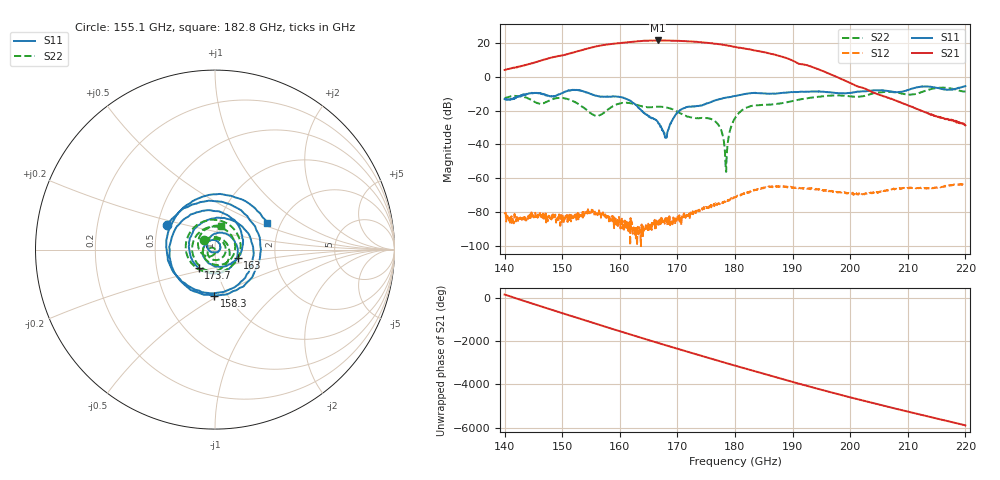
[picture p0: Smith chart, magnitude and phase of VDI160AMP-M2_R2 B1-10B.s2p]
!Keysight Technologies,N5242B,MY60213711,A.18.40.03
!Date: Thursday, March 26, 2026 01:20:33
!Correction: S11(C  2-Port  )
!S21(C  2-Port  )
!S12(C  2-Port  )
!S22(C  2-Port  )
!S2P File: Measurements: S11, S21, S12, S22:
# Hz S  RI  R 50
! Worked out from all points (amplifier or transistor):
!   1201 points, 140 GHz to 220 GHz, reference 50 ohm
!   highest |S21| = 21.3 dB at 166.6 GHz (marker M1)
!   |S21| within 3 dB of that: 156.7 GHz to 178.8 GHz (22.09 GHz wide, 13.2 % of centre)
!   unconditionally stable (mu >= 1): start of sweep to end of sweep
!   at 153.3 GHz: K = 799.97, MAG = 16.2 dB, |S12| = -81.0 dB
!   at 180 GHz: K = 220.78, MAG = 17.8 dB, |S12| = -71.0 dB
!   at 220 GHz: K = 13162.02, MAG = -26.7 dB, |S12| = -63.7 dB
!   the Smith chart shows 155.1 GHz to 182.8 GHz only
!   S11 on the Smith chart (normalised r, x): 155.1 GHz: 0.56, +0.17; 158.3 GHz: 0.87, -0.48; 163 GHz: 1.28, -0.12; 173.7 GHz: 0.82, -0.17; 182.8 GHz: 1.70, +0.56
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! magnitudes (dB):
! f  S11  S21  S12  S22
! 140 GHz  -13.3  3.9  -81.0  -12.9
! 146.3 GHz  -9.9  9.4  -83.8  -16.0
! 150 GHz  -9.7  12.5  -83.0  -12.6
! 153.4 GHz  -8.4  15.6  -82.4  -17.6
! 155.1 GHz  -10.4  17.1  -78.4  -22.0
! 158.3 GHz  -11.8  19.1  -84.8  -18.5
! 163 GHz  -17.5  20.7  -99.5  -16.7
! 166.6 GHz  -26.7  21.3  -87.2  -17.7
! 166.7 GHz  -27.4  21.3  -85.2  -17.7
! 168 GHz  -35.6  21.2  -84.3  -18.1
! 170.3 GHz  -20.4  21.0  -83.6  -21.2
! 173.7 GHz  -17.3  20.3  -79.3  -24.5
! 176.9 GHz  -13.7  19.2  -75.3  -27.6
! 177.7 GHz  -13.1  18.9  -74.2  -32.2
! 178.4 GHz  -12.4  18.5  -73.1  -54.8
! 179.3 GHz  -12.0  18.0  -72.0  -30.1
! 180 GHz  -11.5  17.4  -71.0  -24.5
! 182.8 GHz  -9.8  15.8  -67.4  -17.3
! 193.4 GHz  -8.8  5.6  -66.2  -12.3
! 201.8 GHz  -8.8  -6.3  -69.4  -11.8
! 206.7 GHz  -8.5  -12.5  -66.9  -9.0
! 220 GHz  -5.6  -28.7  -63.7  -8.8
